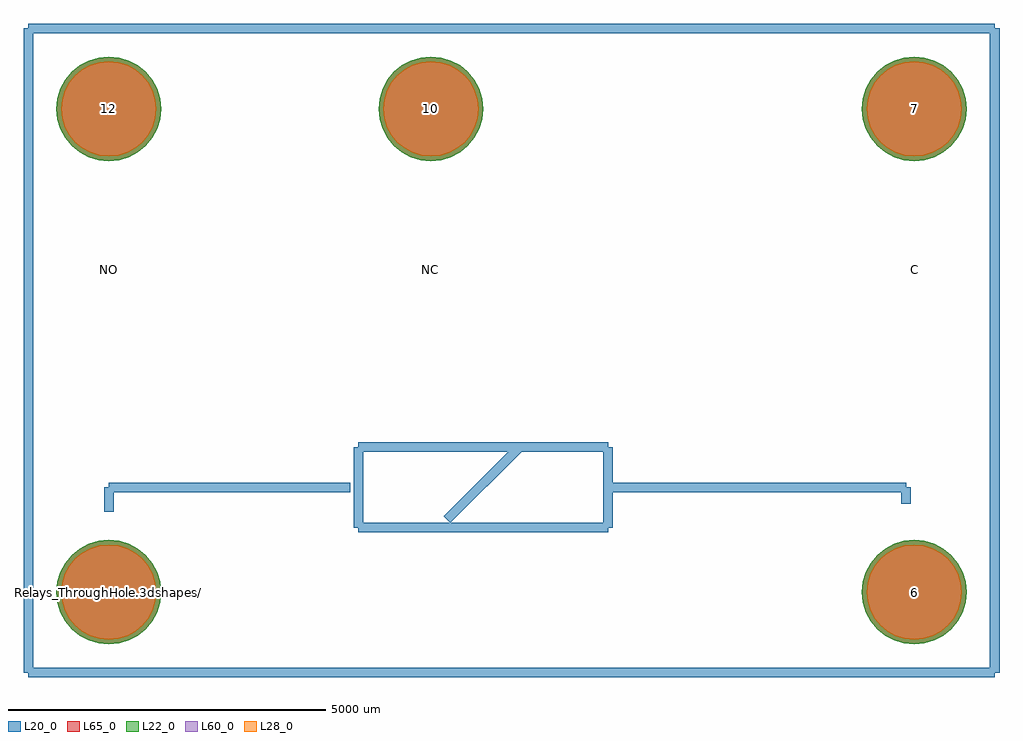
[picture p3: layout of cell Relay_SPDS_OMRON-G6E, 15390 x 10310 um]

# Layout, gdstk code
import gdstk
lib = gdstk.Library(unit=1e-6, precision=1e-09)
def P(c, l, *ps):  # polygons
    for p in ps: c.add(gdstk.Polygon(p, *l))
L20_0 = (20, 0)
L22_0 = (22, 0)
L28_0 = (28, 0)
L60_0 = (60, 0)
L65_0 = (65, 0)

relay_spds_omron_g6e = lib.new_cell('Relay_SPDS_OMRON-G6E')
P(relay_spds_omron_g6e, L22_0, [(13525.57,7620),(13509.707,7781.061),(13462.727,7935.932),(13386.436,8078.662),(13283.766,8203.766),(13158.662,8306.436),(13015.932,8382.727),(12861.061,8429.707),(12700,8445.57),(12538.939,8429.707),(12384.068,8382.727),(12241.338,8306.436),(12116.234,8203.766),(12013.564,8078.662),(11937.273,7935.932),(11890.293,7781.061),(11874.43,7620),(11890.293,7458.939),(11937.273,7304.068),(12013.564,7161.338),(12116.234,7036.234),(12241.338,6933.564),(12384.068,6857.273),(12538.939,6810.293),(12700,6794.43),(12861.061,6810.293),(13015.932,6857.273),(13158.662,6933.564),(13283.766,7036.234),(13386.436,7161.338),(13462.727,7304.068),(13509.707,7458.939)],
  [(13525.57,0),(13509.707,161.061),(13462.727,315.932),(13386.436,458.662),(13283.766,583.766),(13158.662,686.436),(13015.932,762.727),(12861.061,809.707),(12700,825.57),(12538.939,809.707),(12384.068,762.727),(12241.338,686.436),(12116.234,583.766),(12013.564,458.662),(11937.273,315.932),(11890.293,161.061),(11874.43,0),(11890.293,-161.061),(11937.273,-315.932),(12013.564,-458.662),(12116.234,-583.766),(12241.338,-686.436),(12384.068,-762.727),(12538.939,-809.707),(12700,-825.57),(12861.061,-809.707),(13015.932,-762.727),(13158.662,-686.436),(13283.766,-583.766),(13386.436,-458.662),(13462.727,-315.932),(13509.707,-161.061)],
  [(5905.57,7620),(5889.707,7781.061),(5842.727,7935.932),(5766.436,8078.662),(5663.766,8203.766),(5538.662,8306.436),(5395.932,8382.727),(5241.061,8429.707),(5080,8445.57),(4918.939,8429.707),(4764.068,8382.727),(4621.338,8306.436),(4496.234,8203.766),(4393.564,8078.662),(4317.273,7935.932),(4270.293,7781.061),(4254.43,7620),(4270.293,7458.939),(4317.273,7304.068),(4393.564,7161.338),(4496.234,7036.234),(4621.338,6933.564),(4764.068,6857.273),(4918.939,6810.293),(5080,6794.43),(5241.061,6810.293),(5395.932,6857.273),(5538.662,6933.564),(5663.766,7036.234),(5766.436,7161.338),(5842.727,7304.068),(5889.707,7458.939)],
  [(825.57,7620),(809.707,7781.061),(762.727,7935.932),(686.436,8078.662),(583.766,8203.766),(458.662,8306.436),(315.932,8382.727),(161.061,8429.707),(0,8445.57),(-161.061,8429.707),(-315.932,8382.727),(-458.662,8306.436),(-583.766,8203.766),(-686.436,8078.662),(-762.727,7935.932),(-809.707,7781.061),(-825.57,7620),(-809.707,7458.939),(-762.727,7304.068),(-686.436,7161.338),(-583.766,7036.234),(-458.662,6933.564),(-315.932,6857.273),(-161.061,6810.293),(0,6794.43),(161.061,6810.293),(315.932,6857.273),(458.662,6933.564),(583.766,7036.234),(686.436,7161.338),(762.727,7304.068),(809.707,7458.939)],
  [(825.57,0),(809.707,161.061),(762.727,315.932),(686.436,458.662),(583.766,583.766),(458.662,686.436),(315.932,762.727),(161.061,809.707),(0,825.57),(-161.061,809.707),(-315.932,762.727),(-458.662,686.436),(-583.766,583.766),(-686.436,458.662),(-762.727,315.932),(-809.707,161.061),(-825.57,0),(-809.707,-161.061),(-762.727,-315.932),(-686.436,-458.662),(-583.766,-583.766),(-458.662,-686.436),(-315.932,-762.727),(-161.061,-809.707),(0,-825.57),(161.061,-809.707),(315.932,-762.727),(458.662,-686.436),(583.766,-583.766),(686.436,-458.662),(762.727,-315.932),(809.707,-161.061)])
P(relay_spds_omron_g6e, L28_0, [(13450.57,7620),(13436.148,7766.429),(13393.436,7907.231),(13324.076,8036.994),(13230.733,8150.733),(13116.994,8244.076),(12987.231,8313.436),(12846.429,8356.148),(12700,8370.57),(12553.571,8356.148),(12412.769,8313.436),(12283.006,8244.076),(12169.267,8150.733),(12075.924,8036.994),(12006.564,7907.231),(11963.852,7766.429),(11949.43,7620),(11963.852,7473.571),(12006.564,7332.769),(12075.924,7203.006),(12169.267,7089.267),(12283.006,6995.924),(12412.769,6926.564),(12553.571,6883.852),(12700,6869.43),(12846.429,6883.852),(12987.231,6926.564),(13116.994,6995.924),(13230.733,7089.267),(13324.076,7203.006),(13393.436,7332.769),(13436.148,7473.571)],
  [(13450.57,0),(13436.148,146.429),(13393.436,287.231),(13324.076,416.994),(13230.733,530.733),(13116.994,624.076),(12987.231,693.436),(12846.429,736.148),(12700,750.57),(12553.571,736.148),(12412.769,693.436),(12283.006,624.076),(12169.267,530.733),(12075.924,416.994),(12006.564,287.231),(11963.852,146.429),(11949.43,0),(11963.852,-146.429),(12006.564,-287.231),(12075.924,-416.994),(12169.267,-530.733),(12283.006,-624.076),(12412.769,-693.436),(12553.571,-736.148),(12700,-750.57),(12846.429,-736.148),(12987.231,-693.436),(13116.994,-624.076),(13230.733,-530.733),(13324.076,-416.994),(13393.436,-287.231),(13436.148,-146.429)],
  [(5830.57,7620),(5816.148,7766.429),(5773.436,7907.231),(5704.076,8036.994),(5610.733,8150.733),(5496.994,8244.076),(5367.231,8313.436),(5226.429,8356.148),(5080,8370.57),(4933.571,8356.148),(4792.769,8313.436),(4663.006,8244.076),(4549.267,8150.733),(4455.924,8036.994),(4386.564,7907.231),(4343.852,7766.429),(4329.43,7620),(4343.852,7473.571),(4386.564,7332.769),(4455.924,7203.006),(4549.267,7089.267),(4663.006,6995.924),(4792.769,6926.564),(4933.571,6883.852),(5080,6869.43),(5226.429,6883.852),(5367.231,6926.564),(5496.994,6995.924),(5610.733,7089.267),(5704.076,7203.006),(5773.436,7332.769),(5816.148,7473.571)],
  [(750.57,7620),(736.148,7766.429),(693.436,7907.231),(624.076,8036.994),(530.733,8150.733),(416.994,8244.076),(287.231,8313.436),(146.429,8356.148),(0,8370.57),(-146.429,8356.148),(-287.231,8313.436),(-416.994,8244.076),(-530.733,8150.733),(-624.076,8036.994),(-693.436,7907.231),(-736.148,7766.429),(-750.57,7620),(-736.148,7473.571),(-693.436,7332.769),(-624.076,7203.006),(-530.733,7089.267),(-416.994,6995.924),(-287.231,6926.564),(-146.429,6883.852),(0,6869.43),(146.429,6883.852),(287.231,6926.564),(416.994,6995.924),(530.733,7089.267),(624.076,7203.006),(693.436,7332.769),(736.148,7473.571)],
  [(750.57,0),(736.148,146.429),(693.436,287.231),(624.076,416.994),(530.733,530.733),(416.994,624.076),(287.231,693.436),(146.429,736.148),(0,750.57),(-146.429,736.148),(-287.231,693.436),(-416.994,624.076),(-530.733,530.733),(-624.076,416.994),(-693.436,287.231),(-736.148,146.429),(-750.57,0),(-736.148,-146.429),(-693.436,-287.231),(-624.076,-416.994),(-530.733,-530.733),(-416.994,-624.076),(-287.231,-693.436),(-146.429,-736.148),(0,-750.57),(146.429,-736.148),(287.231,-693.436),(416.994,-624.076),(530.733,-530.733),(624.076,-416.994),(693.436,-287.231),(736.148,-146.429)])
P(relay_spds_omron_g6e, L60_0, [(13450.57,7620),(13436.148,7766.429),(13393.436,7907.231),(13324.076,8036.994),(13230.733,8150.733),(13116.994,8244.076),(12987.231,8313.436),(12846.429,8356.148),(12700,8370.57),(12553.571,8356.148),(12412.769,8313.436),(12283.006,8244.076),(12169.267,8150.733),(12075.924,8036.994),(12006.564,7907.231),(11963.852,7766.429),(11949.43,7620),(11963.852,7473.571),(12006.564,7332.769),(12075.924,7203.006),(12169.267,7089.267),(12283.006,6995.924),(12412.769,6926.564),(12553.571,6883.852),(12700,6869.43),(12846.429,6883.852),(12987.231,6926.564),(13116.994,6995.924),(13230.733,7089.267),(13324.076,7203.006),(13393.436,7332.769),(13436.148,7473.571)],
  [(13450.57,0),(13436.148,146.429),(13393.436,287.231),(13324.076,416.994),(13230.733,530.733),(13116.994,624.076),(12987.231,693.436),(12846.429,736.148),(12700,750.57),(12553.571,736.148),(12412.769,693.436),(12283.006,624.076),(12169.267,530.733),(12075.924,416.994),(12006.564,287.231),(11963.852,146.429),(11949.43,0),(11963.852,-146.429),(12006.564,-287.231),(12075.924,-416.994),(12169.267,-530.733),(12283.006,-624.076),(12412.769,-693.436),(12553.571,-736.148),(12700,-750.57),(12846.429,-736.148),(12987.231,-693.436),(13116.994,-624.076),(13230.733,-530.733),(13324.076,-416.994),(13393.436,-287.231),(13436.148,-146.429)],
  [(5830.57,7620),(5816.148,7766.429),(5773.436,7907.231),(5704.076,8036.994),(5610.733,8150.733),(5496.994,8244.076),(5367.231,8313.436),(5226.429,8356.148),(5080,8370.57),(4933.571,8356.148),(4792.769,8313.436),(4663.006,8244.076),(4549.267,8150.733),(4455.924,8036.994),(4386.564,7907.231),(4343.852,7766.429),(4329.43,7620),(4343.852,7473.571),(4386.564,7332.769),(4455.924,7203.006),(4549.267,7089.267),(4663.006,6995.924),(4792.769,6926.564),(4933.571,6883.852),(5080,6869.43),(5226.429,6883.852),(5367.231,6926.564),(5496.994,6995.924),(5610.733,7089.267),(5704.076,7203.006),(5773.436,7332.769),(5816.148,7473.571)],
  [(750.57,7620),(736.148,7766.429),(693.436,7907.231),(624.076,8036.994),(530.733,8150.733),(416.994,8244.076),(287.231,8313.436),(146.429,8356.148),(0,8370.57),(-146.429,8356.148),(-287.231,8313.436),(-416.994,8244.076),(-530.733,8150.733),(-624.076,8036.994),(-693.436,7907.231),(-736.148,7766.429),(-750.57,7620),(-736.148,7473.571),(-693.436,7332.769),(-624.076,7203.006),(-530.733,7089.267),(-416.994,6995.924),(-287.231,6926.564),(-146.429,6883.852),(0,6869.43),(146.429,6883.852),(287.231,6926.564),(416.994,6995.924),(530.733,7089.267),(624.076,7203.006),(693.436,7332.769),(736.148,7473.571)],
  [(750.57,0),(736.148,146.429),(693.436,287.231),(624.076,416.994),(530.733,530.733),(416.994,624.076),(287.231,693.436),(146.429,736.148),(0,750.57),(-146.429,736.148),(-287.231,693.436),(-416.994,624.076),(-530.733,530.733),(-624.076,416.994),(-693.436,287.231),(-736.148,146.429),(-750.57,0),(-736.148,-146.429),(-693.436,-287.231),(-624.076,-416.994),(-530.733,-530.733),(-416.994,-624.076),(-287.231,-693.436),(-146.429,-736.148),(0,-750.57),(146.429,-736.148),(287.231,-693.436),(416.994,-624.076),(530.733,-530.733),(624.076,-416.994),(693.436,-287.231),(736.148,-146.429)])
P(relay_spds_omron_g6e, L65_0, [(13525.57,7620),(13509.707,7781.061),(13462.727,7935.932),(13386.436,8078.662),(13283.766,8203.766),(13158.662,8306.436),(13015.932,8382.727),(12861.061,8429.707),(12700,8445.57),(12538.939,8429.707),(12384.068,8382.727),(12241.338,8306.436),(12116.234,8203.766),(12013.564,8078.662),(11937.273,7935.932),(11890.293,7781.061),(11874.43,7620),(11890.293,7458.939),(11937.273,7304.068),(12013.564,7161.338),(12116.234,7036.234),(12241.338,6933.564),(12384.068,6857.273),(12538.939,6810.293),(12700,6794.43),(12861.061,6810.293),(13015.932,6857.273),(13158.662,6933.564),(13283.766,7036.234),(13386.436,7161.338),(13462.727,7304.068),(13509.707,7458.939)],
  [(13525.57,0),(13509.707,161.061),(13462.727,315.932),(13386.436,458.662),(13283.766,583.766),(13158.662,686.436),(13015.932,762.727),(12861.061,809.707),(12700,825.57),(12538.939,809.707),(12384.068,762.727),(12241.338,686.436),(12116.234,583.766),(12013.564,458.662),(11937.273,315.932),(11890.293,161.061),(11874.43,0),(11890.293,-161.061),(11937.273,-315.932),(12013.564,-458.662),(12116.234,-583.766),(12241.338,-686.436),(12384.068,-762.727),(12538.939,-809.707),(12700,-825.57),(12861.061,-809.707),(13015.932,-762.727),(13158.662,-686.436),(13283.766,-583.766),(13386.436,-458.662),(13462.727,-315.932),(13509.707,-161.061)],
  [(5905.57,7620),(5889.707,7781.061),(5842.727,7935.932),(5766.436,8078.662),(5663.766,8203.766),(5538.662,8306.436),(5395.932,8382.727),(5241.061,8429.707),(5080,8445.57),(4918.939,8429.707),(4764.068,8382.727),(4621.338,8306.436),(4496.234,8203.766),(4393.564,8078.662),(4317.273,7935.932),(4270.293,7781.061),(4254.43,7620),(4270.293,7458.939),(4317.273,7304.068),(4393.564,7161.338),(4496.234,7036.234),(4621.338,6933.564),(4764.068,6857.273),(4918.939,6810.293),(5080,6794.43),(5241.061,6810.293),(5395.932,6857.273),(5538.662,6933.564),(5663.766,7036.234),(5766.436,7161.338),(5842.727,7304.068),(5889.707,7458.939)],
  [(825.57,7620),(809.707,7781.061),(762.727,7935.932),(686.436,8078.662),(583.766,8203.766),(458.662,8306.436),(315.932,8382.727),(161.061,8429.707),(0,8445.57),(-161.061,8429.707),(-315.932,8382.727),(-458.662,8306.436),(-583.766,8203.766),(-686.436,8078.662),(-762.727,7935.932),(-809.707,7781.061),(-825.57,7620),(-809.707,7458.939),(-762.727,7304.068),(-686.436,7161.338),(-583.766,7036.234),(-458.662,6933.564),(-315.932,6857.273),(-161.061,6810.293),(0,6794.43),(161.061,6810.293),(315.932,6857.273),(458.662,6933.564),(583.766,7036.234),(686.436,7161.338),(762.727,7304.068),(809.707,7458.939)],
  [(825.57,0),(809.707,161.061),(762.727,315.932),(686.436,458.662),(583.766,583.766),(458.662,686.436),(315.932,762.727),(161.061,809.707),(0,825.57),(-161.061,809.707),(-315.932,762.727),(-458.662,686.436),(-583.766,583.766),(-686.436,458.662),(-762.727,315.932),(-809.707,161.061),(-825.57,0),(-809.707,-161.061),(-762.727,-315.932),(-686.436,-458.662),(-583.766,-583.766),(-458.662,-686.436),(-315.932,-762.727),(-161.061,-809.707),(0,-825.57),(161.061,-809.707),(315.932,-762.727),(458.662,-686.436),(583.766,-583.766),(686.436,-458.662),(762.727,-315.932),(809.707,-161.061)])
relay_spds_omron_g6e.add(gdstk.FlexPath([(13970,8890),(-1270,8890)], 149.998, ends="flush", simple_path=True, layer=20, datatype=0))  # L20_0
relay_spds_omron_g6e.add(gdstk.FlexPath([(13970,-1270),(13970,8890)], 149.998, ends="flush", simple_path=True, layer=20, datatype=0))  # L20_0
relay_spds_omron_g6e.add(gdstk.FlexPath([(-1270,-1270),(13970,-1270)], 149.998, ends="flush", simple_path=True, layer=20, datatype=0))  # L20_0
relay_spds_omron_g6e.add(gdstk.FlexPath([(-1270,8890),(-1270,-1270)], 149.998, ends="flush", simple_path=True, layer=20, datatype=0))  # L20_0
relay_spds_omron_g6e.add(gdstk.FlexPath([(7874,1016),(3937,1016)], 149.998, ends="flush", simple_path=True, layer=20, datatype=0))  # L20_0
relay_spds_omron_g6e.add(gdstk.FlexPath([(7874,2286),(7874,1016)], 149.998, ends="flush", simple_path=True, layer=20, datatype=0))  # L20_0
relay_spds_omron_g6e.add(gdstk.FlexPath([(3937,2286),(7874,2286)], 149.998, ends="flush", simple_path=True, layer=20, datatype=0))  # L20_0
relay_spds_omron_g6e.add(gdstk.FlexPath([(3937,1016),(3937,2286)], 149.998, ends="flush", simple_path=True, layer=20, datatype=0))  # L20_0
relay_spds_omron_g6e.add(gdstk.FlexPath([(5334,1143),(6477,2286)], 149.998, ends="flush", simple_path=True, layer=20, datatype=0))  # L20_0
relay_spds_omron_g6e.add(gdstk.FlexPath([(12573,1651),(12573,1397)], 149.998, ends="flush", simple_path=True, layer=20, datatype=0))  # L20_0
relay_spds_omron_g6e.add(gdstk.FlexPath([(7874,1651),(12573,1651)], 149.998, ends="flush", simple_path=True, layer=20, datatype=0))  # L20_0
relay_spds_omron_g6e.add(gdstk.FlexPath([(0,1651),(0,1270)], 149.998, ends="flush", simple_path=True, layer=20, datatype=0))  # L20_0
relay_spds_omron_g6e.add(gdstk.FlexPath([(3810,1651),(0,1651)], 149.998, ends="flush", simple_path=True, layer=20, datatype=0))  # L20_0
relay_spds_omron_g6e.add(gdstk.Label('Relays_ThroughHole.3dshapes/Relay_SPDS_OMRON-G6E.wrl', (0,0), layer=12, texttype=0))
relay_spds_omron_g6e.add(gdstk.Label('7', (12700,7620), layer=28, texttype=0))
relay_spds_omron_g6e.add(gdstk.Label('6', (12700,0), layer=28, texttype=0))
relay_spds_omron_g6e.add(gdstk.Label('10', (5080,7620), layer=28, texttype=0))
relay_spds_omron_g6e.add(gdstk.Label('12', (0,7620), layer=28, texttype=0))
relay_spds_omron_g6e.add(gdstk.Label('1', (0,0), layer=28, texttype=0))
relay_spds_omron_g6e.add(gdstk.Label('C', (12700,5080), layer=9, texttype=0))
relay_spds_omron_g6e.add(gdstk.Label('NC', (5080,5080), layer=9, texttype=0))
relay_spds_omron_g6e.add(gdstk.Label('NO', (0,5080), layer=9, texttype=0))
relay_spds_omron_g6e.add(gdstk.Label('type', (5080,-3810), layer=9, texttype=0))
relay_spds_omron_g6e.add(gdstk.Label('devicename', (6309.36,9827.26), layer=9, texttype=0))

lib.write_gds('Relay_SPDS_OMRON-G6E.gds')
